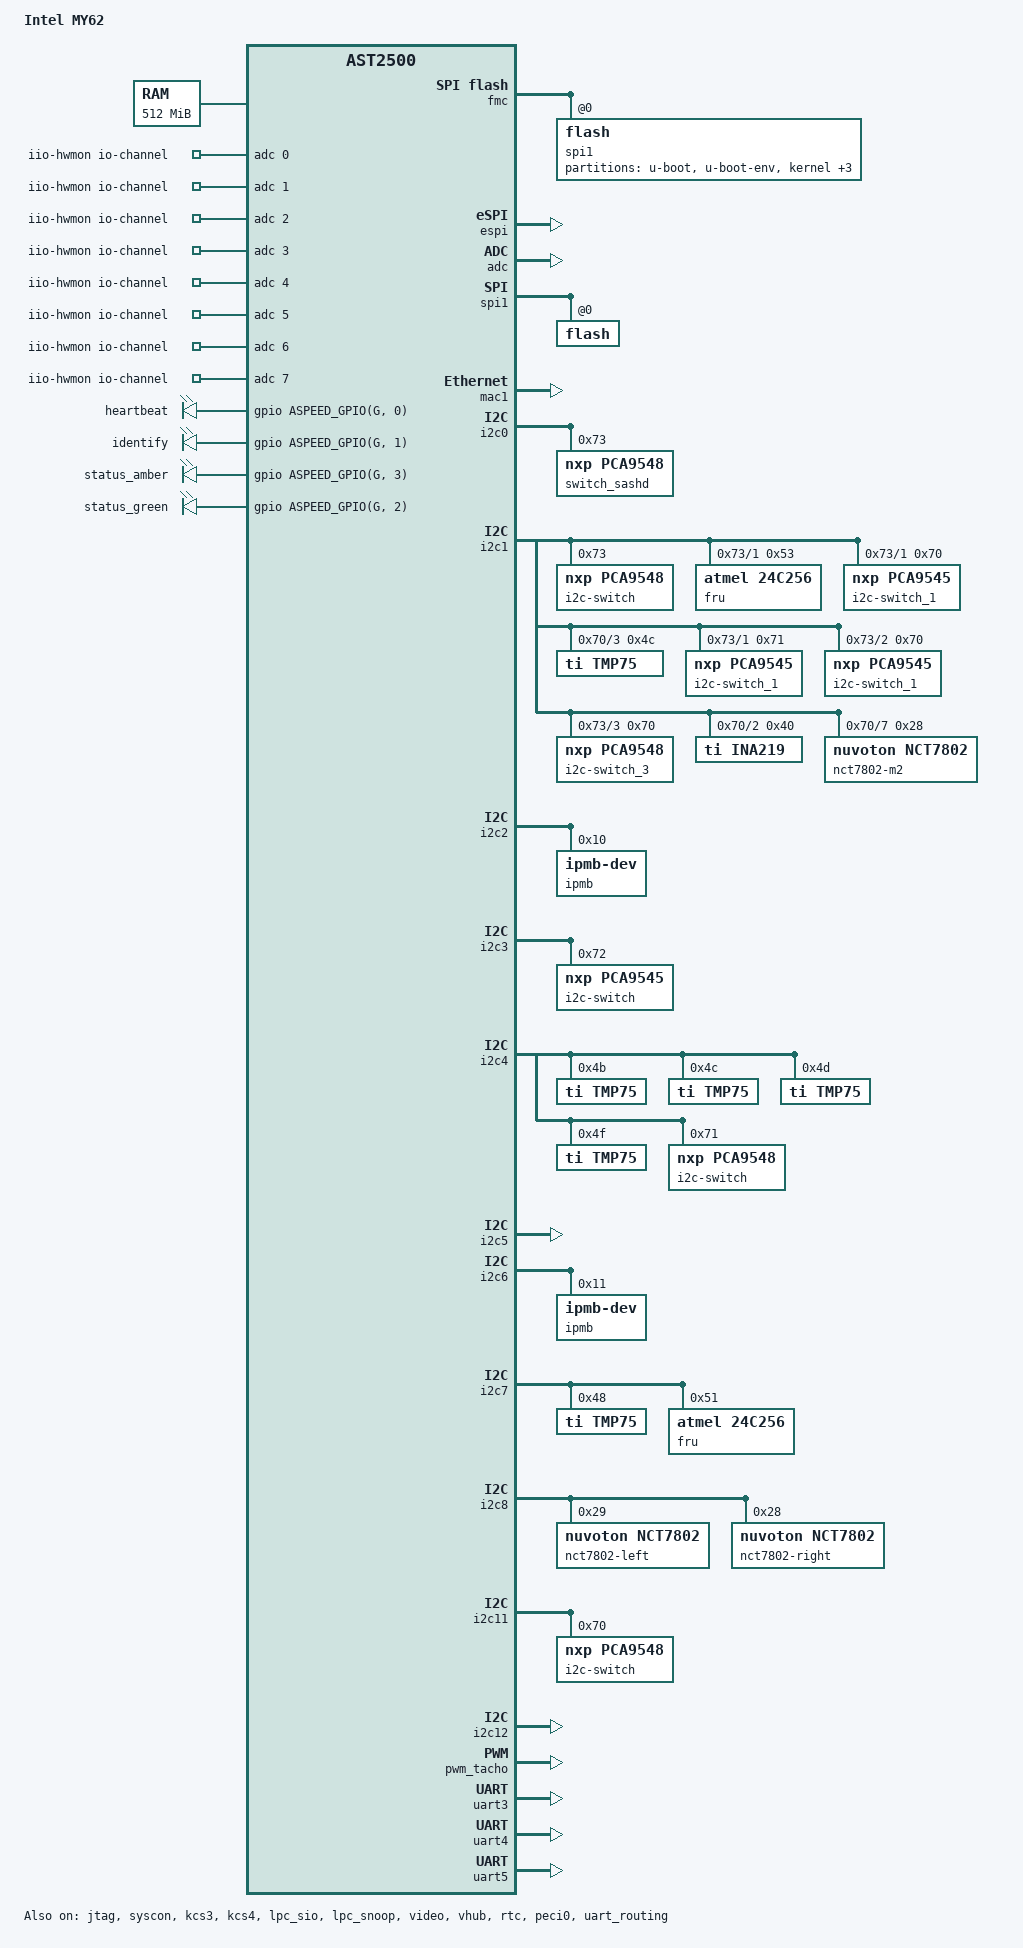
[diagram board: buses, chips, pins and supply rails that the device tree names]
/dts-v1/;

#include "aspeed-g5.dtsi"
#include <dt-bindings/gpio/aspeed-gpio.h>
#include <dt-bindings/i2c/i2c.h>

/ {
	model = "Intel MY62";
	compatible = "intel,whitly-bmc", "aspeed,ast2500";

	aliases {
		serial4 = &uart5;

		i2c16 = &i2c_nvme0;
		i2c17 = &i2c_nvme1;
		i2c18 = &i2c_nvme2;
		i2c19 = &i2c_nvme3;
		i2c20 = &i2c_nvme4;
		i2c21 = &i2c_nvme5;
		i2c22 = &i2c_12v;
		i2c23 = &i2c_48v;

		i2c28 = &i2c_m2_0;
		i2c29 = &i2c_m2_1;

		i2c14 = &i2c_ina219;   //0x40
		i2c30 = &i2c_gen_z_right;
		i2c31 = &i2c_gen_z_left;
		i2c31 = &i2c_cpld;

		i2c41 = &i2c_sas1;
		i2c42 = &i2c_sas2;
		i2c43 = &i2c_sas3;
		i2c44 = &i2c_sas4;

		i2c50 = &i2c_m2_lm5066;
		i2c51 = &i2c_channel5;
		i2c52 = &i2c_channel6;
		i2c53 = &i2c_channel7;
		i2c60 = &i2c_sw73_ch0;
		i2c54 = &i2c_sw73_ch1;
		i2c55 = &i2c_sw73_ch2;
		i2c56 = &i2c_sw73_ch3;
		i2c57 = &i2c_sw_ch0_gpu0;
		i2c58 = &i2c_sw_ch1_gpu1;
		i2c59 = &i2c_sw_ch2_gpu2;

		i2c61 = &i2c_sw70_ch1;
		i2c62 = &i2c_sw70_ch2;
		i2c63 = &i2c_sw70_ch3;
};
	chosen {
		stdout-path = &uart5;
		bootargs = "console=ttyS4,115200n8 root=/dev/ram rw earlyrintk";
	};

	memory@80000000 {
		reg = <0x80000000 0x20000000>;
	};

	reserved-memory {
		#address-cells = <1>;
		#size-cells = <1>;
		ranges;

		vga_memory: framebuffer@7f000000 {
			no-map;
			reg = <0x7f000000 0x01000000>;
		};

		video_engine_memory: jpegbuffer {
			size = <0x02000000>;
			alignment = <0x01000000>;
			compatible = "shared-dma-pool";
			reusable;
		};
		ramoops@9eff0000{
			compatible = "ramoops";
			reg = <0x9eff0000 0x10000>;
			record-size = <0x2000>;
			console-size = <0x2000>;
		};
	};

	vga-shared-memory {
		compatible = "aspeed,ast2500-vga-sharedmem";
		reg = <0x9ff00000 0x100000>;
	};

	iio-hwmon {
			compatible = "iio-hwmon";
			io-channels = <&adc 0>, <&adc 1>, <&adc 2>, <&adc 3>,
				<&adc 4>, <&adc 5>, <&adc 6>, <&adc 7>,
				<&adc 8>, <&adc 9>, <&adc 10>, <&adc 11>,
				<&adc 12>, <&adc 13>, <&adc 14>, <&adc 15>;
	};

	leds {
		compatible = "gpio-leds";

		heartbeat {
			label = "heartbeat";
			gpios = <&gpio ASPEED_GPIO(G, 0) GPIO_ACTIVE_HIGH>;
			linux,default-trigger = "timer";
			active-delay = <100>;
			inactive-delay = <100>;
		};

		identify {
			default-state = "on";
			gpios = <&gpio ASPEED_GPIO(G, 1) GPIO_ACTIVE_HIGH>;
		};

		status_amber {
			default-state = "off";
			gpios = <&gpio ASPEED_GPIO(G, 3) GPIO_ACTIVE_HIGH>;
		};

		status_green {
			default-state = "keep";
			gpios = <&gpio ASPEED_GPIO(G, 2) GPIO_ACTIVE_HIGH>;
		};
	};
};

&fmc {
	status = "okay";
	flash@0 {
		status = "okay";
		m25p,fast-read;
		label = "spi1";
		partitions {
			compatible = "fixed-partitions";
			#address-cells = <1>;
			#size-cells = <1>;

			u-boot@0 {
				reg = <0x0 0x60000>; // 384KB
				label = "u-boot";
			};

			u-boot-env@60000 {
				reg = <0x60000 0x20000>; // 128KB
				label = "u-boot-env";
			};

			kernel@80000 {
				reg = <0x80000 0x440000>; // 4352KB
				label = "kernel";
			};

			rofs@4c0000 {
				reg = <0x4c0000 0x2000000>; // 32MB
				label = "rofs";
			};

			rwfs@24c0000 {
				reg = <0x24c0000 0x1400000>; // 20MB
				label = "rwfs";
			};

			persistent@38C0000 {
				reg = <0x38C0000 0x640000>; // 6.4MB must end at 0x3f00000
				label = "persistent";
			};
		};
	};
};

&espi {
	status = "okay";
};

&jtag {
	status = "okay";
};

&syscon {
	/* uart-clock-high-speed; */
	status = "okay";
};

&adc {
	status = "okay";
	pinctrl-names = "default";
	pinctrl-0 = <&pinctrl_adc0_default &pinctrl_adc1_default
	 &pinctrl_adc2_default &pinctrl_adc3_default &pinctrl_adc4_default
	 &pinctrl_adc5_default &pinctrl_adc6_default &pinctrl_adc7_default
	 &pinctrl_adc8_default &pinctrl_adc9_default &pinctrl_adc10_default
	 &pinctrl_adc11_default &pinctrl_adc12_default &pinctrl_adc13_default
	 &pinctrl_adc15_default>;
};

&gpio {
	status = "okay";
	/* Enable GPIOD0 and GPIOD2 pass-through by default */
	pinctrl-names = "pass-through";
	pinctrl-0 = <&pinctrl_gpid0_default
			&pinctrl_gpid2_default>;
	gpio-line-names =
	/*A0-A7*/	"A0","A1","FP_SW_1","BMC_READY","A4","A5","A6","A7",
	/*B0-B7*/	"B0","B1","B2","B3","TCK_MUX_SEL","SMI","B6","POST_COMPLETE",
	/*C0-C7*/	"BOARD_SKU_ID0","BOARD_SKU_ID1","BOARD_SKU_ID2","BOARD_SKU_ID3","C4","C5","C6","C7",
	/*D0-D7*/	"POWER_BUTTON","POWER_OUT","RESET_BUTTON","RESET_OUT","NMI_BUTTON","NMI_OUT","D6","D7",
	/*E0-E7*/	"BMC_RST_I2C_DEV_1","BMC_HOST_SMBUS_SEL_N","E2","E3","CPU1_MEM_THERM_EVENT","CPU2_MEM_THERM_EVENT","E6","E7",
	/*F0-F7*/	"SIO_POWER_GOOD","DEBUG_EN_N","PWR_DEBUG_N","P3VBAT_BRIDGE_EN","CPU_ERR0","CPU_ERR1","PLTRST_N","PRDY_N",
	/*G0-G7*/	"G0","G1","G2","G3","G4","FM_CLR_CMOS","G6","G7",
	/*H0-H7*/	"PS_PWROK","PCH_BMC_THERMTRIP","H2","H3","CPU_CATERR","CPU_ERR2","H6","H7",
	/*I0-I7*/   "JTAG_TMS", "JTAG_TCK", "JTAG_TDO", "JTAG_TDI", "I4", "I5", "I6", "I7",
	/*J0-J7*/   "J0", "J1", "J2", "J3", "J4", "J5", "J6", "J7",
	/*K0-K7*/   "K0", "K1", "K2", "K3", "K4", "K5", "K6", "K7",
	/*L0-L7*/   "L0", "L1", "L2", "L3", "L4", "L5", "L6", "L7",
	/*M0-M7*/	"RSMRST_N","SYSPWROK","M2","M3","M4","BOARD_SKU_ID5","M6","M7", /* Fake signals, NC port */
	/*N0-N7*/   "N0", "N1", "N2", "N3", "N4", "N5", "N6", "N7",
	/*O0-O7*/   "O0", "O1", "O2", "O3", "O4", "O5", "O6", "O7",
	/*P0-P7*/   "P0", "CPU1_THERMTRIP", "P2", "P3", "CPU1_FIVR_FAULT", "CPU1_VRHOT", "CPU1_MEM_ABCD_VRHOT", "CPU1_MEM_EFGH_VRHOT",
	/*Q0-Q7*/	"Q0","Q1","Q2","Q3","Q4","Q5","ID_BUTTON","Q7",
	/*R0-R7*/	"R0","R1","R2","BIOS_SEL","R4","BAT_SENSE","R6","R7",
	/*S0-S7*/   "S0", "BPB_CPLD_PROGRAMMING_N", "S2", "S3", "S4", "S5", "S6", "S7",
	/*T0-T7*/   "T0", "T1", "T2", "T3", "T4", "T5", "T6", "T7",
	/*U0-U7*/   "U0", "U1", "U2", "U3", "U4", "U5", "U6", "U7",
	/*V0-V7*/   "V0", "V1", "V2", "V3", "V4", "V5", "V6", "V7",
	/*W0-W7*/   "W0", "W1", "W2", "W3", "W4", "W5", "W6", "W7",
	/*X0-X7*/   "X0", "X1", "X2", "X3", "X4", "X5", "X6", "X7",
	/*Y0-Y7*/	"SIO_S3","SIO_S5","Y2","SIO_ONCONTROL","Y4","Y5","Y6","Y7",
	/*Z0-Z7*/   "CPU_ERR0", "CPU_ERR1", "Z2", "Z3", "Z4", "Z5", "Z6", "Z7",
	/*AA0-AA7*/ "AA0", "CPU2_THERMTRIP", "AA2", "AA3", "CPU2_FIVR_FAULT", "CPU2_VRHOT", "AA6", "AA7",
	/*AB0-AB7*/ "AB0", "AB1", "AB2", "AB3", "AB4", "AB5", "AB6", "AB7",
	/*AC0-AC7*/ "AC0", "AC1", "AC2", "AC3", "AC4", "AC5", "AC6", "AC7";
};

&sgpio {
	status = "disabled";
	ngpios = <80>;
	gpio-line-names =
	/* SGPIO output lines */
	/*OA0-OA7*/ "OA0","OA1","OA2","OA3","OA4","OA5","OA6","OA7",
	/*OB0-OB7*/ "OB0","OB1","OB2","OB3","OB4","OB5","OB6","OB7",
	/*OC0-OC7*/ "OC0","OC1","OC2","OC3","OC4","OC5","OC6","OC7",
	/*OD0-OD7*/ "OD0","OD1","OD2","OD3","OD4","OD5","OD6","OD7",
	/*OE0-OE7*/ "OE0","OE1","OE2","OE3","OE4","OE5","OE6","OE7",
	/*OF0-OF7*/ "OF0","OF1","OF2","OF3","OF4","OF5","OF6","OF7",
	/*OG0-OG7*/ "OG0","OG1","OG2","OG3","OG4","OG5","OG6","OG7",
	/*OH0-OH7*/ "OH0","OH1","OH2","OH3","OH4","OH5","OH6","OH7",
	/*OI0-OI7*/ "OI0","OI1","OI2","OI3","OI4","OI5","OI6","OI7",
	/*OJ0-OJ7*/ "SGPMCK","SGPMLD","SGPMO","SGPMI","OJ4","OJ5","OJ6","OJ7",
	/*DUMMY*/   "","","","","","","","",
	/*DUMMY*/   "","","","","","","","",

	/* SGPIO input lines */
	/*IA0-IA7*/ "IA0","IA1","IA2","IA3","IA4","IA5","IA6","IA7",
	/*IB0-IB7*/ "IB0","IB1","IB2","IB3","IB4","IB5","IB6","IB7",
	/*IC0-IC7*/ "IC0","IC1","IC2","IC3","IC4","IC5","IC6","IC7",
	/*ID0-ID7*/ "ID0","ID1","ID2","ID3","ID4","ID5","ID6","ID7",
	/*IE0-IE7*/ "IE0","IE1","IE2","IE3","IE4","IE5","IE6","IE7",
	/*IF0-IF7*/ "IF0","IF1","IF2","IF3","IF4","IF5","IF6","IF7",
	/*IG0-IG7*/ "IG0","IG1","IG2","IG3","IG4","IG5","IG6","IG7",
	/*IH0-IH7*/ "IH0","IH1","IH2","IH3","IH4","IH5","IH6","IH7",
	/*II0-II7*/ "II0","II1","II2","II3","II4","II5","II6","II7",
	/*IJ0-IJ7*/ "IJ0","IJ1","IJ2","IJ3","IJ4","IJ5","IJ6","IJ7";
};

&kcs3 {
	kcs_addr = <0xCA2>;
	aspeed,lpc-io-reg = <0xca2>;
	status = "okay";
};

&kcs4 {
	kcs_addr = <0xCA4>;
	aspeed,lpc-io-reg = <0xca4>;
	status = "okay";
};

&lpc_sio {
	status = "okay";
};


&lpc_snoop {
	snoop-ports = <0x80>;
	status = "okay";
};

&mbox {
	status = "okay";
};

/**
 * BIOS flash connected via MUX controlled by GPIO R.3 (BIOS_SEL_N)
*/
&spi1 {
	status = "okay";
	pinctrl-names = "default";
	pinctrl-0 = <&pinctrl_spi1_default>;

	flash@0 {
		m25p,fast-read;
		status = "okay";
	};
};

&mac0 {
	status = "disabled";
};

&mac1 {
	status = "okay";

	pinctrl-names = "default";
	pinctrl-0 = <&pinctrl_rgmii2_default &pinctrl_mdio2_default>;
};

&i2c0 {
	bus-frequency = <100000>;
	general-call;
	aspeed,dma-buf-size = <4095>;
	aspeed,hw-timeout-ms = <300>;
	status = "okay";
	switch_sashd {
		compatible = "nxp,pca9548";
		#address-cells = <1>;
		#size-cells = <0>;
		reg = <0x73>;
		i2c-mux-idle-disconnect;
		i2c_sas4: i2c@0 {
			#address-cells = <1>;
			#size-cells = <0>;
			reg = <0>;
		};
		i2c_sas3: i2c@1 {
			#address-cells = <1>;
			#size-cells = <0>;
			reg = <1>;
		};
		i2c_sas2: i2c@2 {
			#address-cells = <1>;
			#size-cells = <0>;
			reg = <2>;
		};
		i2c_sas1: i2c@3 {
			#address-cells = <1>;
			#size-cells = <0>;
			reg = <3>;
		};
	};

};

&i2c1 {
	bus-frequency = <100000>;
	aspeed,dma-buf-size = <4095>;
	aspeed,hw-timeout-ms = <300>;
	status = "okay";

	i2c-switch@73 {
		compatible = "nxp,pca9548";
		#address-cells = <1>;
		#size-cells = <0>;
		reg = <0x73>;
		i2c-mux-idle-disconnect;

		i2c_sw73_ch0: i2c@0 {
			#address-cells = <1>;
			#size-cells = <0>;
			reg = <0>;
		};

		i2c_sw73_ch1: i2c@1 {
			#address-cells = <1>;
			#size-cells = <0>;
			reg = <1>;

			fru@0x53 {
				compatible = "atmel,24c256";
				reg = <0x53>;
			};

			i2c-switch_1@70 {
				compatible = "nxp,pca9545";
				#address-cells = <1>;
				#size-cells = <0>;
				reg = <0x70>;
				i2c-mux-idle-disconnect;

				i2c_gen_z_right: i2c@0 {
					#address-cells = <1>;
					#size-cells = <0>;
					reg = <0>;
				};
				i2c_sw70_ch1: i2c@1 {
					#address-cells = <1>;
					#size-cells = <0>;
					reg = <1>;
				};
				i2c_sw70_ch2: i2c@2 {
					#address-cells = <1>;
					#size-cells = <0>;
					reg = <2>;
				};
				i2c_sw70_ch3: i2c@3 {
					#address-cells = <1>;
					#size-cells = <0>;
					reg = <3>;

					tmp75@4c {
						compatible = "ti,tmp75";
						reg = <0x4c>;
					};
				};
			};

			i2c-switch_1@71 {
				compatible = "nxp,pca9545";
				#address-cells = <1>;
				#size-cells = <0>;
				reg = <0x71>;
				i2c-mux-idle-disconnect;

				i2c_sw_ch0_gpu0: i2c@0 {
					#address-cells = <1>;
					#size-cells = <0>;
					reg = <0>;
				};

				i2c_sw_ch1_gpu1: i2c@1 {
					#address-cells = <1>;
					#size-cells = <0>;
					reg = <1>;
				};

				i2c_sw_ch2_gpu2: i2c@2 {
					#address-cells = <1>;
					#size-cells = <0>;
					reg = <2>;
				};
			};
		};

		i2c_sw73_ch2: i2c@2 {
			#address-cells = <1>;
			#size-cells = <0>;
			reg = <2>;

				i2c-switch_1@70 {
					compatible = "nxp,pca9545";
					#address-cells = <1>;
					#size-cells = <0>;
					reg = <0x70>;
					i2c-mux-idle-disconnect;

					i2c_gen_z_left: i2c@0 {
						#address-cells = <1>;
						#size-cells = <0>;
						reg = <0>;
					};
				};
		};

		i2c_sw73_ch3: i2c@3 {
			#address-cells = <1>;
			#size-cells = <0>;
			reg = <3>;

				i2c-switch_3@70 {
					compatible = "nxp,pca9548";
					#address-cells = <1>;
					#size-cells = <0>;
					reg = <0x70>;
					i2c-mux-idle-disconnect;

						i2c_m2_0: i2c@0 {
							#address-cells = <1>;
							#size-cells = <0>;
							reg = <0>;
						};
						i2c_m2_1: i2c@1 {
							#address-cells = <1>;
							#size-cells = <0>;
							reg = <1>;
						};
						i2c_ina219: i2c@2 {
							#address-cells = <1>;
							#size-cells = <0>;
							reg = <2>;

							ina219@40 {
								compatible = "ti,ina219";
								shunt-resistor = <600>; //500uOhm + 100uOhm (loss compensation)
								reg = <0x40>;
							};
						};
						i2c_clk_buf: i2c@3 {
							#address-cells = <1>;
							#size-cells = <0>;
							reg = <3>;
						};
						i2c_m2_lm5066: i2c@4 {
							#address-cells = <1>;
							#size-cells = <0>;
							reg = <4>;
						};
						i2c_channel5: i2c@5 {
							#address-cells = <1>;
							#size-cells = <0>;
							reg = <5>;
						};
						i2c_channel6: i2c@6 {
							#address-cells = <1>;
							#size-cells = <0>;
							reg = <6>;
						};
						i2c_channel7: i2c@7 {
							#address-cells = <1>;
							#size-cells = <0>;
							reg = <7>;
							nct7802-m2@28 {
								compatible = "nuvoton,nct7802";
								reg = <0x28>;
								#address-cells = <1>;
								#size-cells = <0>;
								channel@1 {
									reg = <1>;
									sensor-type = "temperature";
									temperature-mode = "thermistor";
								};
								channel@2 {
									reg = <2>;
									sensor-type = "temperature";
									temperature-mode = "thermistor";
								};
							};
						};
					};
			};
		};
};

&i2c2 {
	bus-frequency = <100000>;
	aspeed,dma-buf-size = <4095>;
	aspeed,hw-timeout-ms = <300>;
	multi-master;
	status = "okay";
	ipmb@10 {
		compatible = "ipmb-dev";
		reg = <0x10>;
		i2c-protocol;
	};
};

&i2c3 {
	bus-frequency = <100000>;
	aspeed,dma-buf-size = <4095>;
	aspeed,hw-timeout-ms = <300>;
	status = "okay";


	i2c-switch@72 {
		compatible = "nxp,pca9545";
		#address-cells = <1>;
		#size-cells = <0>;
		reg = <0x72>;
		i2c-mux-idle-disconnect;

		i2c_12v: i2c@0 {
			#address-cells = <1>;
			#size-cells = <0>;
			reg = <0>;
		};
		i2c_48v: i2c@1 {
			#address-cells = <1>;
			#size-cells = <0>;
			reg = <1>;
		};
	};
};

&i2c4 {
	bus-frequency = <100000>;
	aspeed,dma-buf-size = <4095>;
	aspeed,hw-timeout-ms = <300>;
	status = "okay";

	tmp75@4b {
		compatible = "ti,tmp75";
		reg = <0x4b>;
	};

	tmp75@4c {
		compatible = "ti,tmp75";
		reg = <0x4c>;
	};

	tmp75@4d {
		compatible = "ti,tmp75";
		reg = <0x4d>;
	};

	tmp75@4f {
		compatible = "ti,tmp75";
		reg = <0x4f>;
	};
	i2c-switch@71 {
		compatible = "nxp,pca9548";
		#address-cells = <1>;
		#size-cells = <0>;
		reg = <0x71>;
		i2c-mux-idle-disconnect;
		interrupt-controller;
		#interrupt-cells = <2>;

		i2c_cpld: i2c@0 {
			#address-cells = <1>;
			#size-cells = <0>;
			reg = <0>;
		};
	};
};

&i2c5 {
	bus-frequency = <100000>;
	aspeed,dma-buf-size = <4095>;
	aspeed,hw-timeout-ms = <300>;
	status = "okay";

	/*i2c-switch_dimms {
		compatible = "nxp,pca9545";
		#address-cells = <1>;
		#size-cells = <0>;
		reg = <0x72>;
		//i2c-mux-idle-disconnect;
		interrupt-controller;
		#interrupt-cells = <2>;
		i2c-mux-idle-disconnect;

		i2c_cpu0_abcd: i2c@0 {
			#address-cells = <1>;
			#size-cells = <0>;
			reg = <0>;
		};
		i2c_cpu0_efgh: i2c@1 {
			#address-cells = <1>;
			#size-cells = <0>;
			reg = <1>;
		};
		i2c_cpu1_abcd: i2c@2 {
			#address-cells = <1>;
			#size-cells = <0>;
			reg = <2>;
		};
		i2c_cpu1_efgh: i2c@3 {
			#address-cells = <1>;
			#size-cells = <0>;
			reg = <3>;
		};
	};*/
};

&i2c6 {
	bus-frequency = <100000>;
	aspeed,dma-buf-size = <4095>;
	aspeed,hw-timeout-ms = <300>;
	status = "okay";
	multi-master;

	ipmb@11 {
		compatible = "ipmb-dev";
		reg = <0x11>;
		i2c-protocol;
	};
};

&i2c7 {
	bus-frequency = <100000>;
	aspeed,dma-buf-size = <4095>;
	aspeed,hw-timeout-ms = <300>;
	status = "okay";

	tmp75@48 {
		compatible = "ti,tmp75";
		reg = <0x48>;
	};

	fru@0x51 {
		compatible = "atmel,24c256";
		reg = <0x51>;
	};
};

/* HDD_BPB */

&i2c8 {
	bus-frequency = <100000>;
	aspeed,dma-buf-size = <4095>;
	aspeed,hw-timeout-ms = <300>;
	status = "okay";

	nct7802-left@29 {
		compatible = "nuvoton,nct7802";
		reg = <0x29>;
		#address-cells = <1>;
		#size-cells = <0>;
		channel@1 {
			reg = <1>;
			sensor-type = "temperature";
			temperature-mode = "thermistor";
		};
		channel@2 {
			reg = <2>;
			sensor-type = "temperature";
			temperature-mode = "thermistor";
		};
	};
	nct7802-right@28 {
		compatible = "nuvoton,nct7802";
		reg = <0x28>;
		#address-cells = <1>;
		#size-cells = <0>;
		channel@1 {
			reg = <1>;
			sensor-type = "temperature";
			temperature-mode = "thermistor";
		};
		channel@2 {
			reg = <2>;
			sensor-type = "temperature";
			temperature-mode = "thermistor";
		};
	};
};

&i2c11 {
	bus-frequency = <100000>;
	aspeed,dma-buf-size = <4095>;
	aspeed,hw-timeout-ms = <300>;
	status = "okay";

		i2c-switch@70 {
				compatible = "nxp,pca9548";
				#address-cells = <1>;
				#size-cells = <0>;
				reg = <0x70>;
				i2c-mux-idle-disconnect;

				i2c_nvme0: i2c@0 {
						#address-cells = <1>;
						#size-cells = <0>;
						reg = <0>;
				};

				i2c_nvme1: i2c@1 {
						#address-cells = <1>;
						#size-cells = <0>;
						reg = <1>;
				};

				i2c_nvme2: i2c@2 {
						#address-cells = <1>;
						#size-cells = <0>;
						reg = <2>;
				};

				i2c_nvme3: i2c@3 {
						#address-cells = <1>;
						#size-cells = <0>;
						reg = <3>;
				};
				i2c_nvme4: i2c@4 {
						#address-cells = <1>;
						#size-cells = <0>;
						reg = <4>;
				};
				i2c_nvme5: i2c@5 {
						#address-cells = <1>;
						#size-cells = <0>;
						reg = <5>;
				};
		};
};

&i2c12 {
	bus-frequency = <100000>;
	aspeed,dma-buf-size = <4095>;
	aspeed,hw-timeout-ms = <300>;
	status = "okay";
};

&pwm_tacho {
	status = "okay";
	pinctrl-names = "default";
	pinctrl-0 = <&pinctrl_pwm2_default &pinctrl_pwm3_default>;

		fan@2 {
				reg = <0x02>;
				aspeed,fan-tach-ch = /bits/ 8 <0x02>;
		};
		fan@3 {
				reg = <0x03>;
				aspeed,fan-tach-ch = /bits/ 8 <0x03>;
		};
};

&video {
	status = "okay";
	memory-region = <&video_engine_memory>;
};

&vhub {
	status = "okay";
};

&rtc {
	status = "okay";
};

&peci0 {
	status = "okay";
};

/* ttyS0 0x1e783000  Passed to host via SIO -> LPC */
&uart1 {
	status = "disabled";
};

/* ttyS1 0x1e78d000 Passed to host via SIO -> LPC */
&uart2{
	status = "disabled";
	//pinctrl-names = "default";
	//pinctrl-0 = <&pinctrl_txd4_default &pinctrl_rxd4_default>;
	//pinctrl-0 = <>;
};

/* ttyS2 0x1e78e000 */
&uart3{
	status = "okay";
	//pinctrl-names = "default";
	//pinctrl-0 = <&pinctrl_txd4_default &pinctrl_rxd4_default>;
	//pinctrl-0 = <>;
};

/* ttyS3 0x1e78f000 This UART is used to be internally connected to UART1 for SOL function */
&uart4{
	status = "okay";
	pinctrl-names = "default";
	pinctrl-0 = <>;
};

/* ttyS4 0x1e784000 This is console UART */
&uart5 {
	status = "okay";
	pinctrl-names = "default";
	pinctrl-0 = <>;
};

/* ttyS5 0x1e787000 This is host UART sitting on LPC */
&vuart {
	status = "disabled";
};

&uart_routing {
	status = "okay";
};
